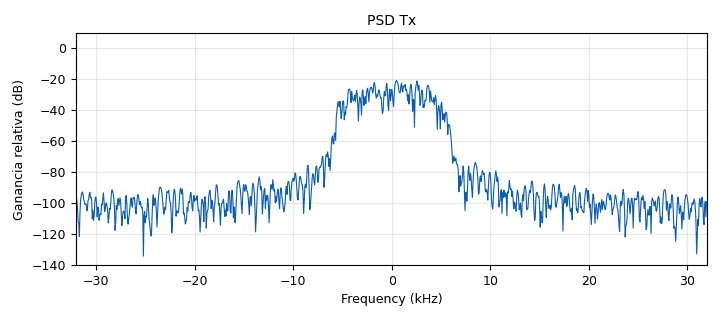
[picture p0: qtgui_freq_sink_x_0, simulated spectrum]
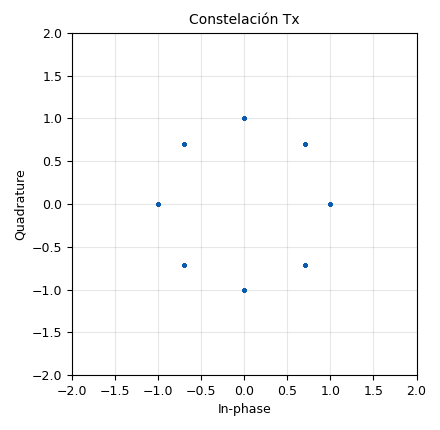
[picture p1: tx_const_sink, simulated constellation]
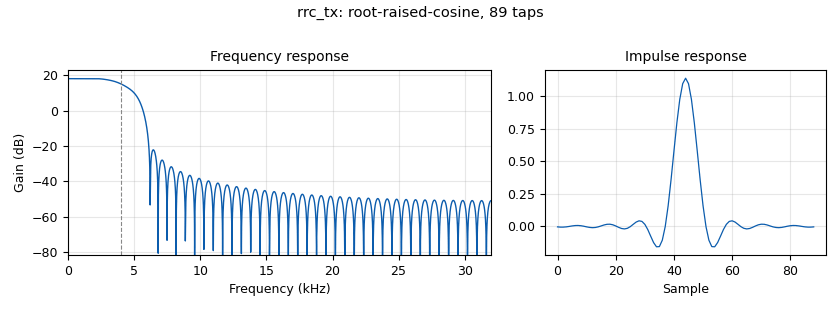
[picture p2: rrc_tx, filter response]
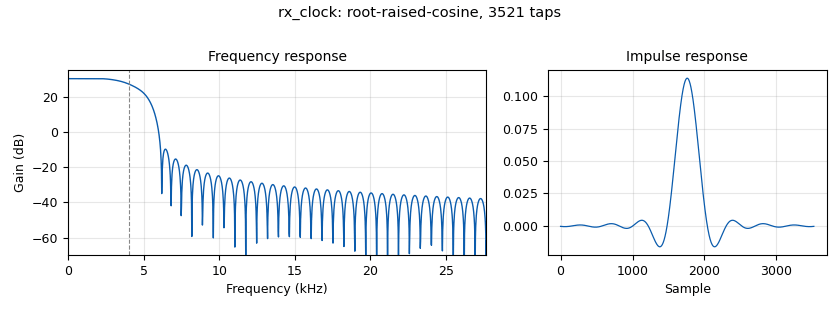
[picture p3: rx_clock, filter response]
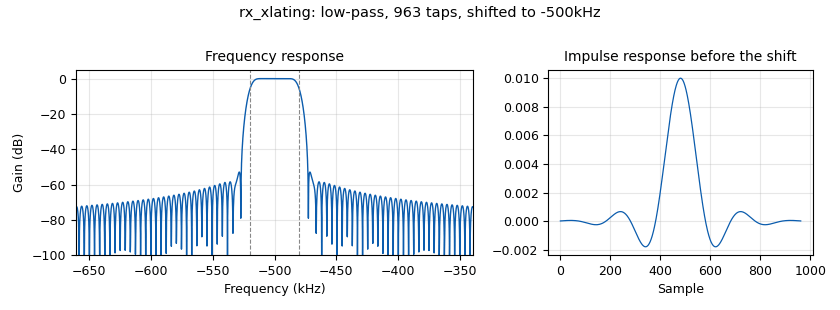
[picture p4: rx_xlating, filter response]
options:
  parameters:
    description: Tx PSK (BPSK/QPSK/8PSK) con RRC + Rx con segundo HackRF
    generate_options: qt_gui
    id: Guia2_Constelaciones_Tx_Rx
    output_language: python
    title: Guia2 - PSK Tx/Rx
  states: {}

blocks:
- name: M
  id: variable
  parameters:
    value: len(tabla_de_verdad_constelacion)
  states: {}
- name: Rb
  id: variable
  parameters:
    value: Rs*bps
  states: {}
- name: Rs
  id: variable
  parameters:
    value: '8000'
  states: {}
- name: Sps
  id: variable
  parameters:
    value: '8'
  states: {}
- name: beta
  id: variable_qtgui_range
  parameters:
    gui_hint: 2,1,1,1
    label: Roll-off (beta)
    start: '0.10'
    step: '0.05'
    stop: '1.0'
    value: '0.5'
  states: {}
- name: bps
  id: variable
  parameters:
    value: int(round(math.log(M,2)))
  states: {}
- name: fc
  id: variable
  parameters:
    value: 860e6
  states: {}
- name: nfilts
  id: variable
  parameters:
    value: '32'
  states: {}
- name: radio_rate
  id: variable
  parameters:
    value: 4e6
  states: {}
- name: rrc_rx_taps
  id: variable_rrc_filter_taps
  parameters:
    alpha: beta
    gain: nfilts
    ntaps: 11*rx_sps*nfilts
    samp_rate: nfilts*rx_samp_rate
    sym_rate: Rs
  states: {}
- name: rrc_tx_taps
  id: variable_rrc_filter_taps
  parameters:
    alpha: beta
    gain: Sps
    ntaps: span*Sps
    samp_rate: samp_rate
    sym_rate: Rs
  states: {}
- name: ruido
  id: variable_qtgui_range
  parameters:
    gui_hint: 3,1,1,1
    label: Ruido
    start: '0'
    step: '0.01'
    stop: '1'
    value: '0'
  states: {}
- name: rx_amp
  id: variable
  parameters:
    comment: Amplificador RF del Rx (0 o 14)
    value: '0'
  states: {}
- name: rx_args
  id: variable
  parameters:
    comment: Si Tx es hackrf=0, el Rx es hackrf=1 (o use hackrf=<serial>)
    value: '"hackrf=1"'
  states: {}
- name: rx_decim
  id: variable
  parameters:
    value: '50'
  states: {}
- name: rx_lo_offset
  id: variable
  parameters:
    comment: Desplazamiento del LO para evitar el pico DC del Rx
    value: 500e3
  states: {}
- name: rx_samp_rate
  id: variable
  parameters:
    value: int(radio_rate/rx_decim)
  states: {}
- name: rx_sps
  id: variable
  parameters:
    value: int(rx_samp_rate/Rs)
  states: {}
- name: rx_vga
  id: variable_qtgui_range
  parameters:
    gui_hint: 3,0,1,1
    label: Ganancia Rx
    start: '0'
    step: '2'
    stop: '30'
    value: '20'
  states: {}
- name: samp_rate
  id: variable
  parameters:
    value: Rs*Sps
  states: {}
- name: span
  id: variable
  parameters:
    value: '11'
  states: {}
- name: tabla_de_verdad_constelacion
  id: variable
  parameters:
    comment: Cambie esta tabla para BPSK, QPSK u 8PSK
    value: (1+0j, 0.707+0.707j, 0+1j, -0.707+0.707j, -1+0j, -0.707-0.707j, 0-1j, 0.707-0.707j)
  states: {}
- name: tx_gain
  id: variable_qtgui_range
  parameters:
    gui_hint: 2,0,1,1
    label: Ganancia Tx
    start: '0'
    step: '1'
    stop: '30'
    value: '15'
  states: {}
- name: analog_random_source_x_0
  id: analog_random_source_x
  parameters:
    max: '2'
    min: '0'
    num_samps: '1000'
    repeat: 'True'
    type: byte
  states: {}
- name: bits_to_symbols
  id: blocks_repack_bits_bb
  parameters:
    endianness: gr.GR_MSB_FIRST
    k: '1'
    l: bps
  states: {}
- name: digital_chunks_to_symbols_xx_0
  id: digital_chunks_to_symbols_xx
  parameters:
    dimension: '1'
    in_type: byte
    out_type: complex
    symbol_table: tabla_de_verdad_constelacion
  states: {}
- name: import_0
  id: import
  parameters:
    imports: import math
  states: {}
- name: import_1
  id: import
  parameters:
    imports: from gnuradio.filter import firdes
  states: {}
- name: noise_add
  id: blocks_add_xx
  parameters:
    type: complex
  states: {}
- name: noise_src
  id: analog_noise_source_x
  parameters:
    amp: ruido
    comment: Ruido AWGN
    noise_type: analog.GR_GAUSSIAN
    seed: '0'
    type: complex
  states: {}
- name: osmosdr_sink_0
  id: osmosdr_sink
  parameters:
    args: hackrf=0
    bb_gain0: '20'
    freq0: fc
    gain0: '0'
    if_gain0: tx_gain
    sample_rate: radio_rate
    sync: none
    type: fc32
  states: {}
- name: osmosdr_source_0
  id: osmosdr_source
  parameters:
    args: rx_args
    bb_gain0: rx_vga
    freq0: fc + rx_lo_offset
    gain0: rx_amp
    gain_mode0: 'False'
    if_gain0: '16'
    sample_rate: radio_rate
    sync: none
    type: fc32
  states: {}
- name: qtgui_freq_sink_x_0
  id: qtgui_freq_sink_x
  parameters:
    bw: samp_rate
    fc: '0'
    fftsize: '1024'
    grid: 'True'
    gui_hint: 0,0,1,1
    label: Ganancia relativa
    name: '"PSD Tx"'
    type: complex
  states: {}
- name: rational_resampler_xxx_0
  id: rational_resampler_xxx
  parameters:
    decim: '4'
    interp: '250'
    type: ccc
  states: {}
- name: rrc_tx
  id: interp_fir_filter_xxx
  parameters:
    interp: Sps
    taps: rrc_tx_taps
    type: ccf
  states: {}
- name: rx_agc
  id: analog_agc_xx
  parameters:
    gain: '1.0'
    max_gain: '65536'
    rate: '1e-3'
    reference: '1.0'
    type: complex
  states: {}
- name: rx_clock
  id: digital_pfb_clock_sync_xxx
  parameters:
    comment: Filtro acoplado RRC + sincronismo de simbolo
    filter_size: nfilts
    init_phase: nfilts/2
    loop_bw: 2*math.pi/100
    max_dev: '1.5'
    osps: '1'
    sps: rx_sps
    taps: rrc_rx_taps
    type: ccf
  states: {}
- name: rx_const_sink
  id: qtgui_const_sink_x
  parameters:
    grid: 'True'
    gui_hint: 1,1,1,1
    name: '"Constelación Rx"'
    size: '2048'
    type: complex
  states: {}
- name: rx_costas
  id: digital_costas_loop_cc
  parameters:
    comment: Sincronismo de fase/portadora
    order: M
    w: 2*math.pi/100
  states: {}
- name: rx_fll
  id: digital_fll_band_edge_cc
  parameters:
    comment: Sincronismo grueso de frecuencia
    filter_size: 2*rx_sps
    rolloff: beta
    samps_per_sym: rx_sps
    type: cc
    w: 2*math.pi/rx_sps/100
  states: {}
- name: rx_freq_sink_bb
  id: qtgui_freq_sink_x
  parameters:
    average: '0.2'
    bw: rx_samp_rate
    comment: Espectro en banda base (la senal debe quedar centrada en 0)
    fc: '0'
    fftsize: '1024'
    grid: 'True'
    gui_hint: 1,0,1,1
    label: Ganancia relativa
    name: '"PSD Rx banda base"'
    type: complex
    ymax: '0'
    ymin: '-120'
  states: {}
- name: rx_xlating
  id: freq_xlating_fir_filter_xxx
  parameters:
    center_freq: '-rx_lo_offset'
    comment: Baja la senal a banda base, filtra y decima a rx_samp_rate
    decim: rx_decim
    samp_rate: radio_rate
    taps: firdes.low_pass(1, radio_rate, 20e3, 10e3)
    type: ccf
  states: {}
- name: tx_const_sink
  id: qtgui_const_sink_x
  parameters:
    grid: 'True'
    gui_hint: 0,1,1,1
    name: '"Constelación Tx"'
    size: '1024'
    type: complex
  states: {}
- name: tx_scale
  id: blocks_multiply_const_vxx
  parameters:
    comment: Evita saturacion del DAC
    const: '0.5'
    type: complex
  states: {}

connections:
- [analog_random_source_x_0, '0', bits_to_symbols, '0']
- [bits_to_symbols, '0', digital_chunks_to_symbols_xx_0, '0']
- [digital_chunks_to_symbols_xx_0, '0', rrc_tx, '0']
- [digital_chunks_to_symbols_xx_0, '0', tx_const_sink, '0']
- [noise_add, '0', qtgui_freq_sink_x_0, '0']
- [noise_add, '0', tx_scale, '0']
- [noise_src, '0', noise_add, '1']
- [osmosdr_source_0, '0', rx_xlating, '0']
- [rational_resampler_xxx_0, '0', osmosdr_sink_0, '0']
- [rrc_tx, '0', noise_add, '0']
- [rx_agc, '0', rx_fll, '0']
- [rx_clock, '0', rx_costas, '0']
- [rx_costas, '0', rx_const_sink, '0']
- [rx_fll, '0', rx_clock, '0']
- [rx_xlating, '0', rx_agc, '0']
- [rx_xlating, '0', rx_freq_sink_bb, '0']
- [tx_scale, '0', rational_resampler_xxx_0, '0']

metadata:
  file_format: 1
  grc_version: 3.10.12.0
